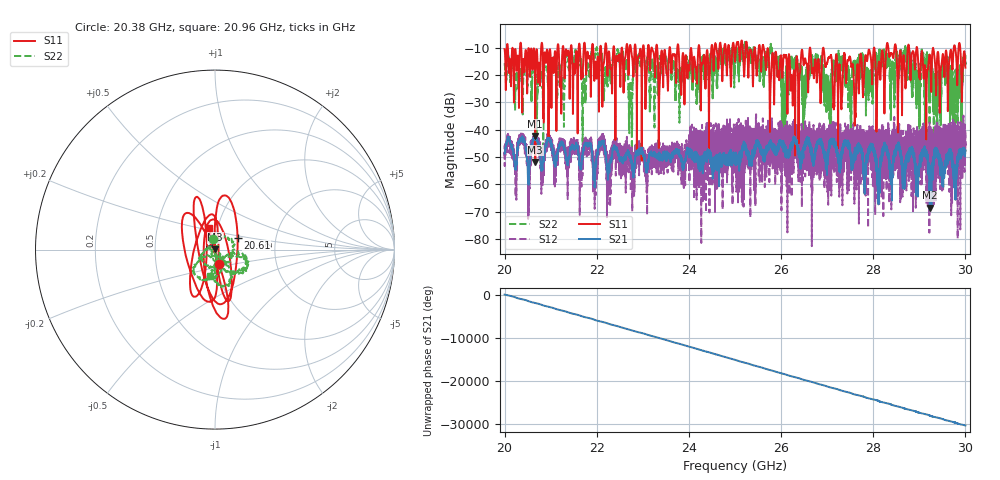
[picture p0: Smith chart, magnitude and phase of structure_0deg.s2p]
#  HZ  S  RI  R  50.00
! Rohde & Schwarz ZVA40 4Ports - Version 3.90 - 1145.1110k42 SN: 100403
! Date: 2023-09-06 05:55:06
! Measurements: S11 S21 S12 S22
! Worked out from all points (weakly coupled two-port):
!   8001 points, 20 GHz to 30 GHz, reference 50 ohm
!   highest |S21| = -42.31 dB at 20.65 GHz (marker M1); lowest = -68.6 dB at 29.23 GHz (marker M2)
!   lowest |S11| = -51.9 dB at 20.66 GHz (marker M3), VSWR 1.01, Z = 50.2 + j0.192 ohm
!   |S11| at or under -10 dB: 25.62 GHz to 26.62 GHz (1.002 GHz wide, 3.83 % of centre); 26.92 GHz to 28.02 GHz (1.102 GHz wide, 4.01 % of centre); 28.95 GHz to 29.75 GHz (796.2 MHz wide, 2.71 % of centre)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
!   |S22| runs from -53.7 to -7.9 dB; largest |S21 - S12| = 0.019
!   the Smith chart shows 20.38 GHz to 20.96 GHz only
!   S11 on the Smith chart (normalised r, x): 20.38 GHz: 1.03, -0.17; 20.61 GHz: 1.27, +0.17; 20.96 GHz: 0.91, +0.22
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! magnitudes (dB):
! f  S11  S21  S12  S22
! 20 GHz  -10.5  -48.8  -48.1  -15.7
! 20.38 GHz  -21.4  -43.4  -42.4  -24.1
! 20.61 GHz  -16.9  -44.1  -45.9  -17.9
! 20.65 GHz  -15.3  -42.3  -41.3  -16.1
! 20.66 GHz  -51.9  -43.2  -44.4  -17.8
! 20.96 GHz  -18.2  -43.4  -44.0  -16.6
! 21.67 GHz  -20.0  -53.0  -60.9  -18.1
! 22.73 GHz  -9.3  -50.9  -49.0  -23.2
! 23.33 GHz  -19.3  -49.5  -48.0  -23.0
! 25 GHz  -15.2  -50.3  -42.2  -16.0
! 25.78 GHz  -21.4  -45.7  -43.6  -10.7
! 26.06 GHz  -12.6  -46.2  -49.0  -25.2
! 26.24 GHz  -23.8  -44.8  -40.0  -15.8
! 26.5 GHz  -15.5  -46.6  -40.4  -33.0
! 26.67 GHz  -19.1  -50.5  -82.7  -13.5
! 27.04 GHz  -13.5  -46.2  -48.6  -32.4
! 27.24 GHz  -31.6  -52.1  -50.8  -12.3
! 27.64 GHz  -19.8  -47.1  -61.9  -20.3
! 28.33 GHz  -11.2  -49.8  -40.5  -13.1
! 29.23 GHz  -12.8  -68.6  -41.2  -25.9
! 29.79 GHz  -10.8  -65.7  -48.6  -18.1
! 30 GHz  -17.3  -47.6  -43.4  -16.1
